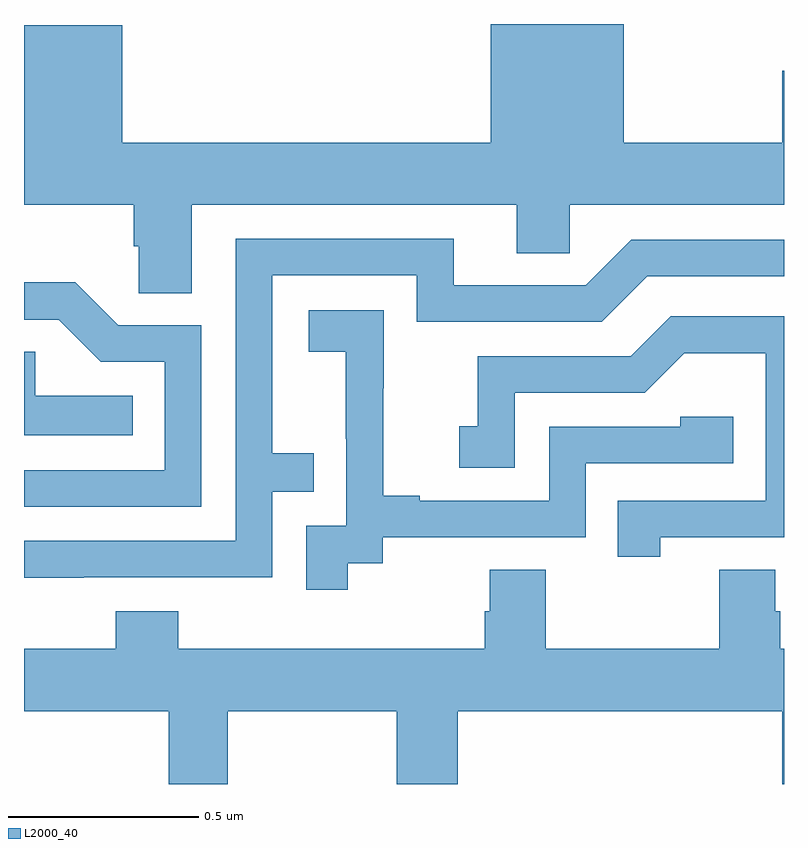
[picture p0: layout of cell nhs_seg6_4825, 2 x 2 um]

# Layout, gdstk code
import gdstk
lib = gdstk.Library(unit=1e-6, precision=1e-09)
def P(c, l, *ps):  # polygons
    for p in ps: c.add(gdstk.Polygon(p, *l))
L2000_40 = (2000, 40)

nhs_seg6_4825 = lib.new_cell('nhs_seg6_4825')
P(nhs_seg6_4825, L2000_40, [(175.441,926.024),(176.297,926.024),(176.297,925.897),(176.436,925.897),(176.436,926.024),(177,926.024),(177,926.377),(176.996,926.377),(176.996,926.188),(176.578,926.188),(176.578,926.5),(176.228,926.5),(176.228,926.188),(175.258,926.188),(175.258,926.497),(175,926.497),(175,926.024),(175.289,926.024),(175.289,925.915),(175.302,925.915),(175.302,925.792),(175.441,925.792)],
  [(175.157,925.044),(175.653,925.044),(175.653,925.269),(175.763,925.269),(175.763,925.37),(175.653,925.37),(175.653,925.839),(176.034,925.839),(176.034,925.716),(176.52,925.716),(176.64,925.836),(177,925.836),(177,925.932),(176.598,925.932),(176.478,925.812),(176.131,925.812),(176.131,925.935),(175.557,925.935),(175.557,925.14),(175,925.14),(175,925.043),(175.157,925.043)],
  [(175.467,925.707),(175.248,925.707),(175.135,925.82),(175,925.82),(175,925.722),(175.091,925.722),(175.202,925.611),(175.371,925.611),(175.371,925.326),(175,925.326),(175,925.23),(175.467,925.23)],
  [(175.852,925.081),(175.944,925.081),(175.944,925.149),(176.478,925.149),(176.478,925.344),(176.867,925.344),(176.867,925.467),(176.727,925.467),(176.727,925.44),(176.382,925.44),(176.382,925.245),(176.041,925.245),(176.041,925.258),(175.946,925.258),(175.946,925.541),(175.947,925.541),(175.947,925.747),(175.749,925.747),(175.749,925.637),(175.847,925.637),(175.847,925.409),(175.848,925.409),(175.848,925.179),(175.743,925.179),(175.743,925.011),(175.852,925.011)],
  [(176.674,925.149),(177,925.149),(177,925.731),(176.702,925.731),(176.597,925.626),(176.194,925.626),(176.194,925.441),(176.145,925.441),(176.145,925.332),(176.292,925.332),(176.292,925.53),(176.634,925.53),(176.738,925.634),(176.952,925.634),(176.952,925.245),(176.563,925.245),(176.563,925.098),(176.674,925.098)],
  [(175.286,925.522),(175.029,925.522),(175.029,925.637),(175,925.637),(175,925.418),(175.286,925.418)],
  [(175.536,924.692),(175.981,924.692),(175.981,924.5),(176.141,924.5),(176.141,924.692),(176.996,924.692),(176.996,924.5),(177,924.5),(177,924.856),(176.99,924.856),(176.99,924.954),(176.977,924.954),(176.977,925.064),(176.83,925.064),(176.83,924.856),(176.373,924.856),(176.373,925.064),(176.225,925.064),(176.225,924.954),(176.213,924.954),(176.213,924.856),(175.406,924.856),(175.406,924.955),(175.241,924.955),(175.241,924.856),(175,924.856),(175,924.692),(175.381,924.692),(175.381,924.5),(175.536,924.5)])

lib.write_gds('nhs_seg6_4825.gds')
